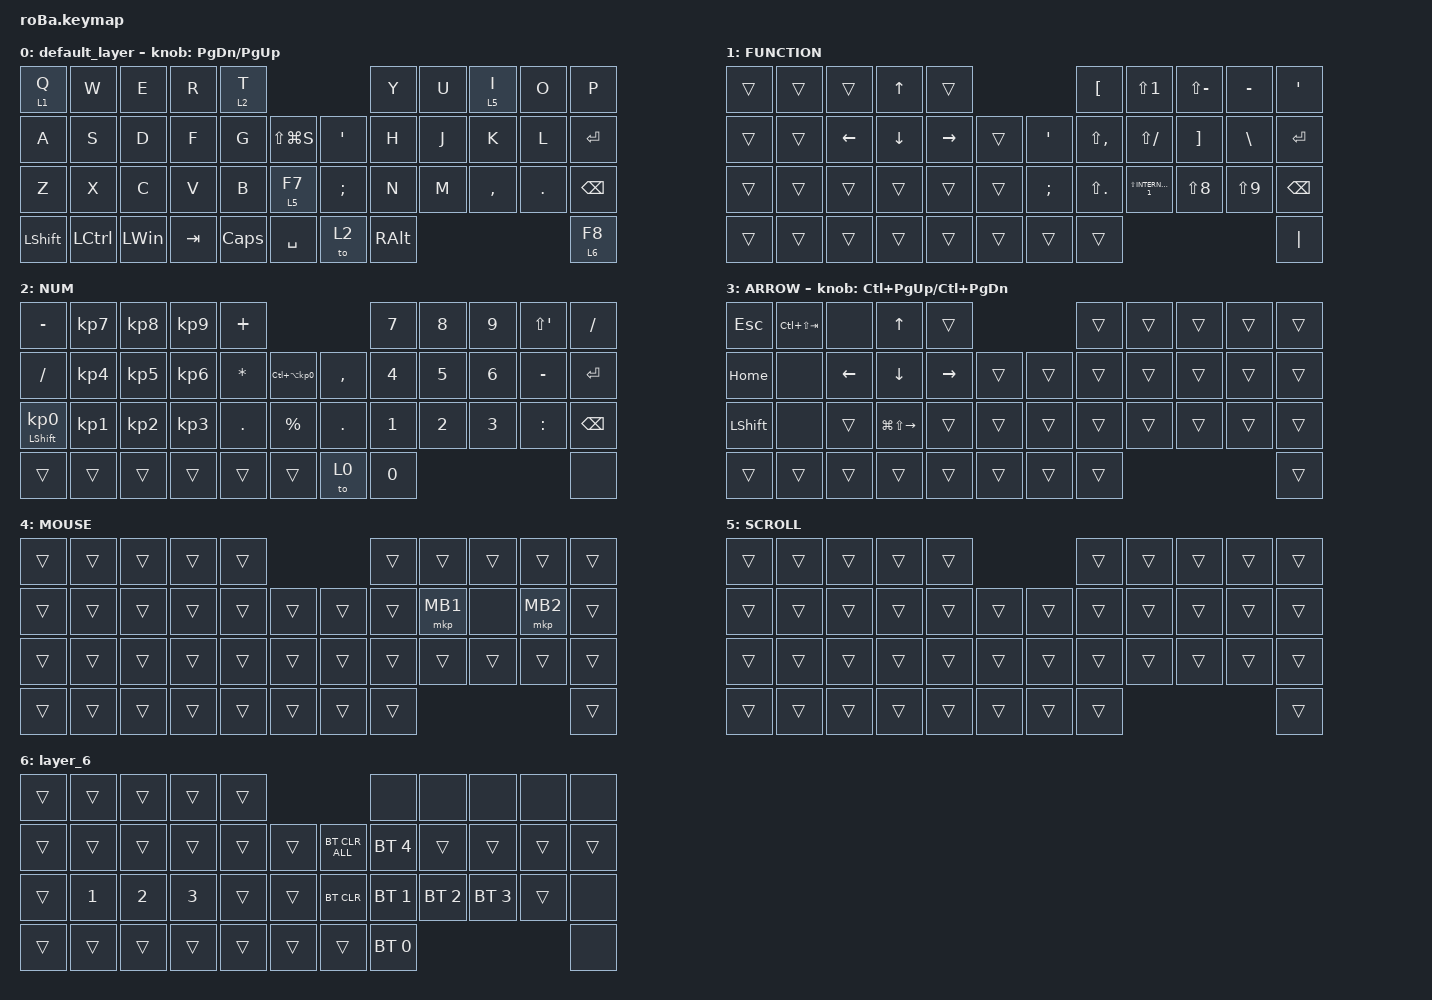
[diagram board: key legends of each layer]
#include <behaviors.dtsi>
#include <dt-bindings/zmk/bt.h>
#include <dt-bindings/zmk/keys.h>
#include <dt-bindings/zmk/pointing.h>

&mt {
    flavor = "balanced";
    quick-tap-ms = <0>;
};

&trackball {
    automouse-layer = <4>;
    scroll-layers = <5>;

    // arrows {
    //     layers = <3>;
    //     bindings =
    //         <&kp RIGHT_ARROW>,
    //         <&kp LEFT_ARROW>,
    //         <&kp UP_ARROW>,
    //         <&kp DOWN_ARROW>;
    //     tick = <10>;
    //     wait-ms = <5>;
    //     tap-ms = <5>;
    // };
};

/ {
    combos { compatible = "zmk,combos"; };

    macros {
        to_layer_0: to_layer_0 {
            compatible = "zmk,behavior-macro-one-param";
            #binding-cells = <1>;
            bindings = <&to 0 &macro_param_1to1 &kp MACRO_PLACEHOLDER>;
            label = "TO_LAYER_0";
        };
    };

    behaviors {
        lt_to_layer_0: lt_to_layer_0 {
            compatible = "zmk,behavior-hold-tap";
            label = "LAYER_TAP_TO_0";
            bindings = <&mo>, <&to_layer_0>;

            #binding-cells = <2>;
            tapping-term-ms = <200>;
        };
    };

    keymap {
        compatible = "zmk,keymap";

        default_layer {
            bindings = <
&lt 1 Q         &kp W             &kp E         &kp R    &lt 2 T                                         &kp Y          &kp U  &lt 5 I    &kp O    &kp P
&kp A           &kp S             &kp D         &kp F    &kp G         &kp LS(LG(S))      &kp SQT        &kp H          &kp J  &kp K      &kp L    &kp ENTER
&kp Z           &kp X             &kp C         &kp V    &kp B         &lt 5 F7           &kp SEMICOLON  &kp N          &kp M  &kp COMMA  &kp DOT  &kp BACKSPACE
&kp LEFT_SHIFT  &kp LEFT_CONTROL  &kp LEFT_WIN  &kp TAB  &kp CAPSLOCK  &kp SPACE          &to 2          &kp RIGHT_ALT                             &lt 6 F8
            >;

            sensor-bindings = <&inc_dec_kp PAGE_DOWN PG_UP>;
        };

        FUNCTION {
            bindings = <
&trans  &trans  &trans    &kp UP    &trans                                   &kp LBKT       &kp LS(NUMBER_1)         &kp LS(MINUS)  &kp MINUS   &kp SQT
&trans  &trans  &kp LEFT  &kp DOWN  &kp RIGHT  &trans      &kp SINGLE_QUOTE  &kp LS(COMMA)  &kp LS(SLASH)            &kp RBKT       &kp BSLH    &kp ENTER
&trans  &trans  &trans    &trans    &trans     &trans      &kp SEMICOLON     &kp LS(DOT)    &kp LS(INTERNATIONAL_1)  &kp LS(N8)     &kp LS(N9)  &kp BACKSPACE
&trans  &trans  &trans    &trans    &trans     &trans      &trans            &trans                                                             &kp PIPE
            >;
        };

        NUM {
            bindings = <
&kp MINUS                   &kp KP_NUMBER_7  &kp KP_NUMBER_8  &kp KP_NUMBER_9  &kp PLUS                                               &kp N7        &kp N8        &kp NUMBER_9  &kp LS(SINGLE_QUOTE)  &kp SLASH
&kp SLASH                   &kp KP_NUMBER_4  &kp KP_NUMBER_5  &kp KP_NUMBER_6  &kp ASTERISK  &kp LC(LA(KP_NUMBER_0))      &kp COMMA   &kp NUMBER_4  &kp NUMBER_5  &kp NUMBER_6  &kp MINUS             &kp ENTER
&mt LEFT_SHIFT KP_NUMBER_0  &kp KP_NUMBER_1  &kp KP_NUMBER_2  &kp KP_NUMBER_3  &kp PERIOD    &kp PERCENT                  &kp PERIOD  &kp NUMBER_1  &kp NUMBER_2  &kp NUMBER_3  &kp COLON             &kp BACKSPACE
&trans                      &trans           &trans           &trans           &trans        &trans                       &to 0       &kp NUMBER_0                                                    &none
            >;
        };

        ARROW {
            bindings = <
&kp ESCAPE      &kp LC(LS(TAB))  &none     &kp UP                   &trans                         &trans  &trans  &trans  &trans  &trans
&kp HOME        &none            &kp LEFT  &kp DOWN                 &kp RIGHT  &trans      &trans  &trans  &trans  &trans  &trans  &trans
&kp LEFT_SHIFT  &none            &trans    &kp LG(LS(RIGHT_ARROW))  &trans     &trans      &trans  &trans  &trans  &trans  &trans  &trans
&trans          &trans           &trans    &trans                   &trans     &trans      &trans  &trans                          &trans
            >;

            sensor-bindings = <&inc_dec_kp LC(PAGE_UP) LC(PAGE_DOWN)>;
        };

        MOUSE {
            bindings = <
&trans  &trans  &trans  &trans  &trans                      &trans  &trans    &trans  &trans    &trans
&trans  &trans  &trans  &trans  &trans  &trans      &trans  &trans  &mkp MB1  &none   &mkp MB2  &trans
&trans  &trans  &trans  &trans  &trans  &trans      &trans  &trans  &trans    &trans  &trans    &trans
&trans  &trans  &trans  &trans  &trans  &trans      &trans  &trans                              &trans
            >;
        };

        SCROLL {
            bindings = <
&trans  &trans  &trans  &trans  &trans                      &trans  &trans  &trans  &trans  &trans
&trans  &trans  &trans  &trans  &trans  &trans      &trans  &trans  &trans  &trans  &trans  &trans
&trans  &trans  &trans  &trans  &trans  &trans      &trans  &trans  &trans  &trans  &trans  &trans
&trans  &trans  &trans  &trans  &trans  &trans      &trans  &trans                          &trans
            >;
        };

        layer_6 {
            bindings = <
&trans  &trans        &trans        &trans        &trans                              &none         &none         &none         &none   &none
&trans  &trans        &trans        &trans        &trans  &trans      &bt BT_CLR_ALL  &bt BT_SEL 4  &trans        &trans        &trans  &trans
&trans  &kp NUMBER_1  &kp NUMBER_2  &kp NUMBER_3  &trans  &trans      &bt BT_CLR      &bt BT_SEL 1  &bt BT_SEL 2  &bt BT_SEL 3  &trans  &none
&trans  &trans        &trans        &trans        &trans  &trans      &trans          &bt BT_SEL 0                                      &none
            >;
        };
    };
};
